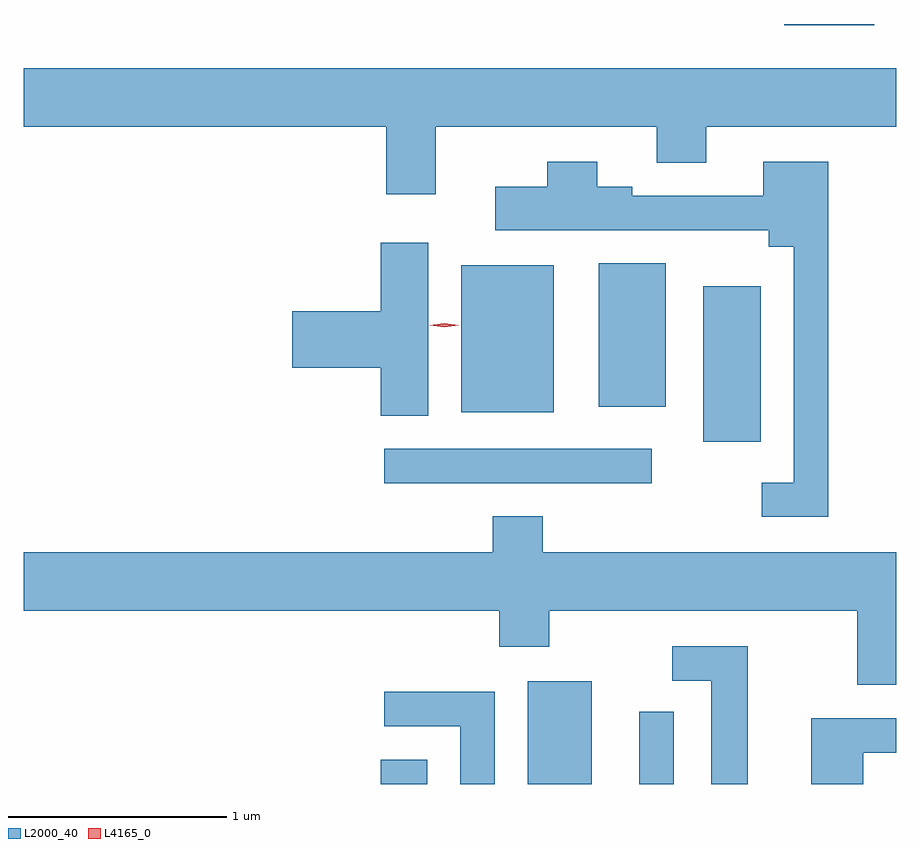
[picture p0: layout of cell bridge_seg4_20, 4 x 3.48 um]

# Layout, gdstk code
import gdstk
lib = gdstk.Library(unit=1e-6, precision=1e-09)
def R(c, l, rs):  # rectangles x0, y0, x1, y1
    for r in rs: c.add(gdstk.rectangle(r[:2], r[2:], *l))
def P(c, l, *ps):  # polygons
    for p in ps: c.add(gdstk.Polygon(p, *l))
L2000_40 = (2000, 40)
L4165_0 = (4165, 0)

bridge_seg4_20 = lib.new_cell('bridge_seg4_20')
R(bridge_seg4_20, L2000_40, [(1223.916,1253.982,1224.129,1254.094), (1224.591,1253.982,1224.884,1254.454), (1225.101,1253.982,1225.259,1254.313), (1223.933,1255.361,1225.158,1255.519), (1225.396,1255.551,1225.659,1256.264), (1224.286,1255.686,1224.709,1256.359), (1224.916,1255.711,1225.224,1256.369), (1225.766,1257.461,1226.179,1257.466)])
P(bridge_seg4_20, L2000_40, [(1224.169,1256.996),(1225.181,1256.996),(1225.181,1256.831),(1225.409,1256.831),(1225.409,1256.996),(1226.28,1256.996),(1226.28,1257.264),(1222.28,1257.264),(1222.28,1256.996),(1223.941,1256.996),(1223.941,1256.686),(1224.169,1256.686)],
  [(1225.969,1256.834),(1225.671,1256.834),(1225.671,1256.679),(1225.069,1256.679),(1225.069,1256.719),(1224.909,1256.719),(1224.909,1256.834),(1224.681,1256.834),(1224.681,1256.719),(1224.441,1256.719),(1224.441,1256.521),(1225.696,1256.521),(1225.696,1256.446),(1225.811,1256.446),(1225.811,1255.364),(1225.663,1255.364),(1225.663,1255.206),(1225.969,1255.206)],
  [(1224.134,1256.464),(1223.916,1256.464),(1223.916,1256.149),(1223.511,1256.149),(1223.511,1255.891),(1223.916,1255.891),(1223.916,1255.671),(1224.134,1255.671)],
  [(1226.28,1255.044),(1224.659,1255.044),(1224.659,1255.209),(1224.431,1255.209),(1224.431,1255.044),(1222.28,1255.044),(1222.28,1254.776),(1224.461,1254.776),(1224.461,1254.611),(1224.689,1254.611),(1224.689,1254.776),(1226.101,1254.776),(1226.101,1254.436),(1226.28,1254.436)],
  [(1225.599,1254.614),(1225.253,1254.614),(1225.253,1254.456),(1225.431,1254.456),(1225.431,1253.982),(1225.599,1253.982)],
  [(1224.439,1254.404),(1223.933,1254.404),(1223.933,1254.246),(1224.281,1254.246),(1224.281,1253.982),(1224.439,1253.982)],
  [(1226.129,1254.126),(1226.28,1254.126),(1226.28,1254.284),(1225.891,1254.284),(1225.891,1253.982),(1226.129,1253.982)])
P(bridge_seg4_20, L4165_0, [(1224.208,1256.075),(1224.142,1256.084),(1224.141,1256.085),(1224.142,1256.085),(1224.208,1256.095),(1224.274,1256.085),(1224.275,1256.085),(1224.274,1256.084)])

lib.write_gds('bridge_seg4_20.gds')
